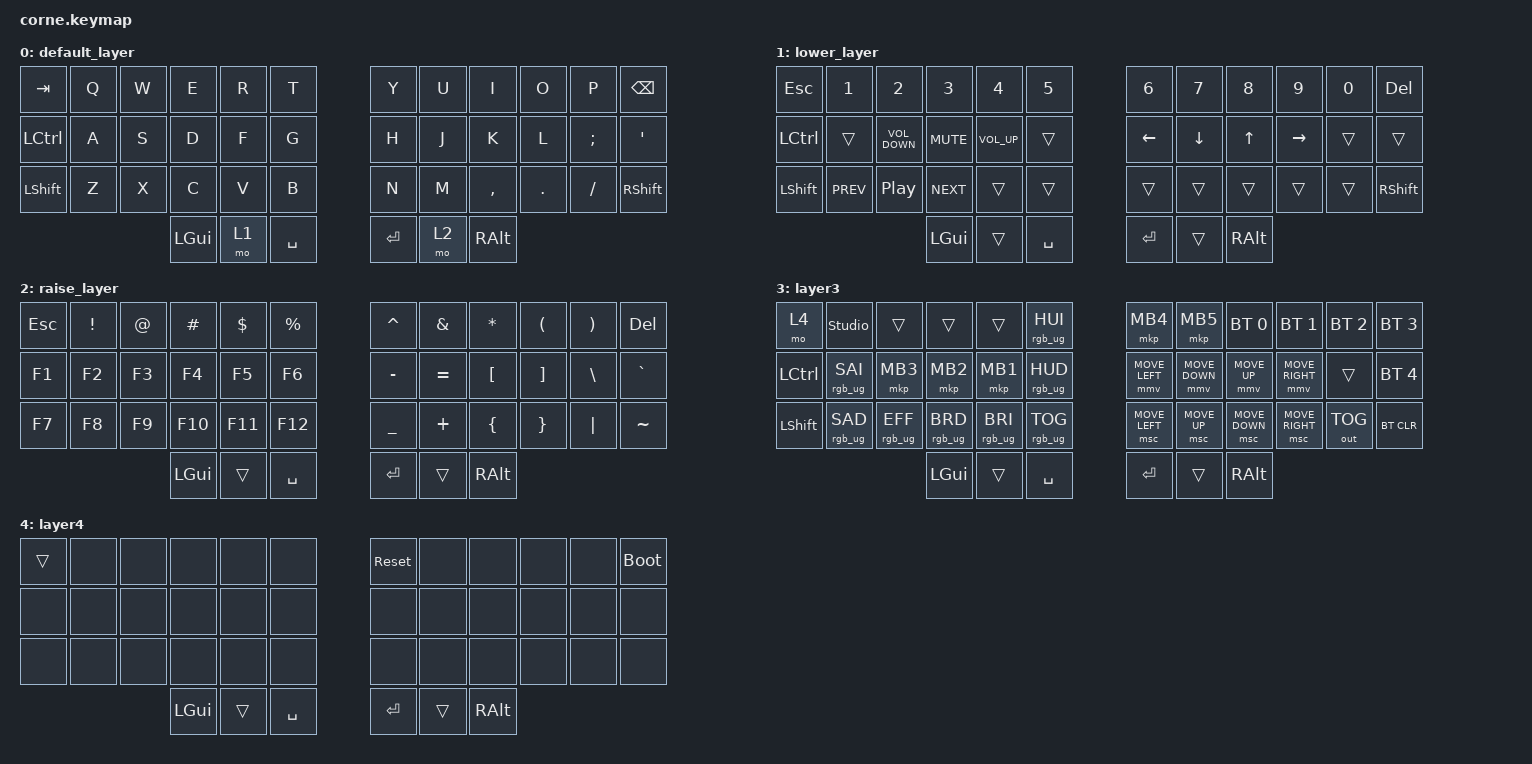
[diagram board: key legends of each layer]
/*
 * Copyright (c) 2020 The ZMK Contributors
 *
 * SPDX-License-Identifier: MIT
 */

#include <behaviors.dtsi>
#include <dt-bindings/zmk/keys.h>
#include <dt-bindings/zmk/bt.h>
#include <dt-bindings/zmk/pointing.h>
#include <dt-bindings/zmk/rgb.h>
#include <dt-bindings/zmk/outputs.h>

&led_strip {
    chain-length = <27>;
};

/ {
  combos {
      compatible = "zmk,combos";
      capslock {
        bindings = <&kp CAPS>;
        key-positions = <5 6>;
      };
    };

        keymap {
                compatible = "zmk,keymap";

                default_layer {
// -----------------------------------------------------------------------------------------
// |  TAB |  Q  |  W  |  E  |  R  |  T  |   |  Y  |  U   |  I  |  O  |  P  | BSPC |
// | CTRL |  A  |  S  |  D  |  F  |  G  |   |  H  |  J   |  K  |  L  |  ;  |  '   |
// | SHFT |  Z  |  X  |  C  |  V  |  B  |   |  N  |  M   |  ,  |  .  |  /  | SHFT  |
//                    | GUI | LWR | SPC |   | ENT | RSE  | ALT |
                        bindings = <
   &kp TAB   &kp Q &kp W &kp E &kp R &kp T   &kp Y &kp U  &kp I     &kp O   &kp P    &kp BSPC
   &kp LCTRL &kp A &kp S &kp D &kp F &kp G   &kp H &kp J  &kp K     &kp L   &kp SEMI &kp SQT
   &kp LSHFT &kp Z &kp X &kp C &kp V &kp B   &kp N &kp M  &kp COMMA &kp DOT &kp FSLH &kp RSHFT
                  &kp LGUI &mo 1 &kp SPACE   &kp RET &mo 2 &kp RALT
                        >;
                };
                lower_layer {
// -----------------------------------------------------------------------------------------
// |  ESC |  1  |  2  |  3  |  4  |  5  |   |  6  |  7  |  8  |  9  |  0  | DEL |
// | CTRL |VOL_D| MUTE|VOL_U| BT4 | BT5 |   | LFT | DWN |  UP | RGT |     |     |
// | SHFT |     |     |     |     |     |   |     |     |     |     |     | SHFT|
//                    | GUI |     | SPC |   | ENT |     | ALT |
                        bindings = <
   &kp ESC   &kp N1     &kp N2           &kp N3 &kp N4 &kp N5 &kp N6 &kp N7 &kp N8 &kp N9 &kp N0 &kp DEL
   &kp LCTRL  &trans &kp C_VOLUME_DOWN  &kp C_MUTE &kp C_VOLUME_UP &trans   &kp LEFT &kp DOWN &kp UP &kp RIGHT &trans &trans
   &kp LSHFT &kp C_PREV &kp C_PLAY_PAUSE &kp C_NEXT &trans &trans &trans &trans &trans &trans &trans &kp RSHFT
                              &kp LGUI &trans &kp SPACE &kp RET &trans &kp RALT
                        >;
                };

                raise_layer {
// -----------------------------------------------------------------------------------------
// |  TAB |  !  |  @  |  #  |  $  |  %  |   |  ^  |  &  |  *  |  (  |  )  | DEL |
// | F1 | F2    |  F3   |  F4   |  F5   |  F6   |   |  -  |  =  |  [  |  ]  |  \  |  `   |
// | F7 |  F8   |  F9   |  F10  |  F11  |  F12  |   |  _  |  +  |  {  |  }  | "|" |  ~   |
//                    | GUI |     | SPC |   | ENT |     | ALT |
                        bindings = <
   &kp  ESC  &kp EXCL &kp AT &kp HASH &kp DLLR &kp PRCNT   &kp CARET &kp AMPS  &kp ASTRK &kp LPAR &kp RPAR &kp DEL
   &kp F1 &kp F2   &kp F3 &kp F4   &kp F5   &kp F6      &kp MINUS &kp EQUAL &kp LBKT  &kp RBKT &kp BSLH &kp GRAVE
   &kp F7 &kp F8   &kp F9 &kp F10   &kp F11   &kp F12      &kp UNDER &kp PLUS  &kp LBRC  &kp RBRC &kp PIPE &kp TILDE
                             &kp LGUI &trans   &kp SPACE   &kp RET   &trans    &kp RALT
                        >;
                };

                layer3 {
// -----------------------------------------------------------------------------------------
// |  TAB |  !  |  @  |  #  |  $  |  %  |   |  ^  |  &  |  *  |  BT1  |  BT2  | BT3 |
// | CTRL |     |     |     |     |     |   |  -  |  =  |  [  |  ]  |  \  |  BT4   |
// | SHFT |     |     |     |     |     |   |  _  |  +  |  {  |  }  | "|" |  BT5   |
//                    | GUI |     | SPC |   | ENT |     | ALT |
                        bindings = <
   &mo 4  &studio_unlock &trans &trans &trans &rgb_ug RGB_HUI   &mkp MB4 &mkp MB5  &bt BT_SEL 0 &bt BT_SEL 1 &bt BT_SEL 2 &bt BT_SEL 3
   &kp LCTRL &rgb_ug RGB_SAI   &mkp MB3 &mkp MB2   &mkp MB1   &rgb_ug RGB_HUD      &mmv MOVE_LEFT &mmv MOVE_DOWN &mmv MOVE_UP  &mmv MOVE_RIGHT &trans &bt BT_SEL 4
   &kp LSHFT &rgb_ug RGB_SAD   &rgb_ug RGB_EFF &rgb_ug RGB_BRD   &rgb_ug RGB_BRI   &rgb_ug RGB_TOG      &msc MOVE_LEFT &msc MOVE_UP  &msc MOVE_DOWN  &msc MOVE_RIGHT &out OUT_TOG &bt BT_CLR
                             &kp LGUI &trans   &kp SPACE   &kp RET   &trans    &kp RALT
                        >;
                };
                layer4 {
                        bindings = <
        &trans &none &none &none &none &none   &sys_reset &none &none &none &none &bootloader
        &none &none &none &none &none &none   &none &none &none &none &none &none
        &none &none &none &none &none &none   &none &none &none &none &none &none
                     &kp LGUI &trans &kp SPACE   &kp RET &trans &kp RALT
    >;
};


        };


conditional_layers {
    compatible = "zmk,conditional-layers";
    layer3 {
        if-layers = <1 2>;
        then-layer = <3>;
    };
};


};

